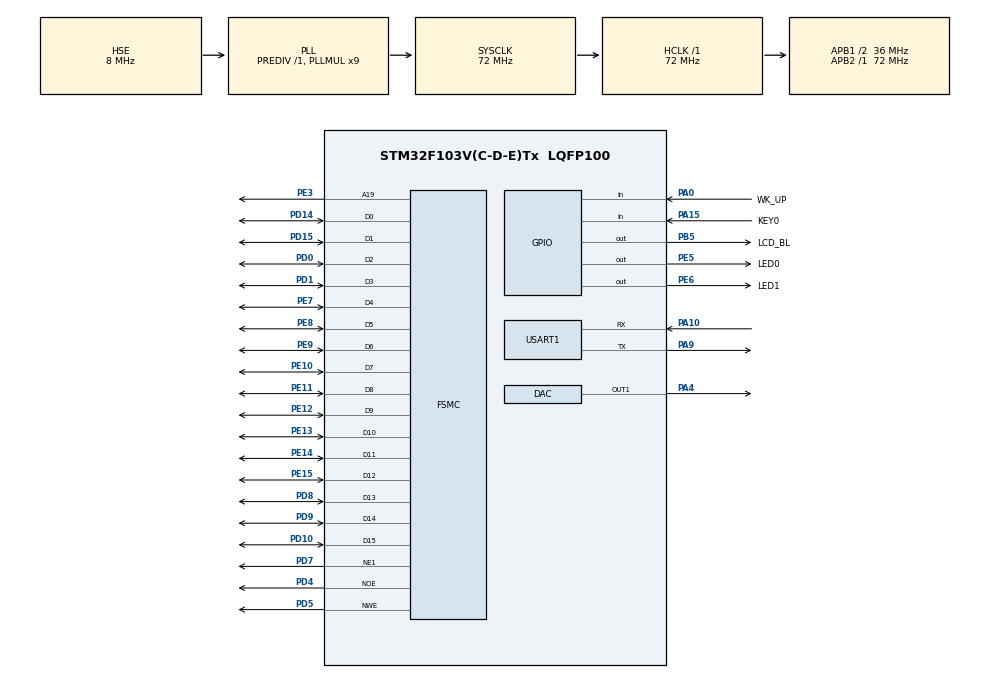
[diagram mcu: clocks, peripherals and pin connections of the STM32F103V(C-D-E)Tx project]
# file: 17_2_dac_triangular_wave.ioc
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DAC.DAC_OutputBuffer=DAC_OUTPUTBUFFER_DISABLE
FSMC.AddressSetupTime1=0
FSMC.DataSetupTime1=15
FSMC.ExtendedAddressSetupTime1=0
FSMC.ExtendedDataSetupTime1=1
FSMC.ExtendedMode1=FSMC_EXTENDED_MODE_ENABLE
Mcu.Family=STM32F1
Mcu.Name=STM32F103V(C-D-E)Tx
Mcu.Package=LQFP100
NVIC.PriorityGroup=NVIC_PRIORITYGROUP_2
NVIC.USART1_IRQn=true\:2\:2\:true\:false\:true\:true\:true\:true
OSC_IN.Mode=HSE-External-Oscillator
OSC_IN.Signal=RCC_OSC_IN
OSC_OUT.Mode=HSE-External-Oscillator
OSC_OUT.Signal=RCC_OSC_OUT
PA0-WKUP.GPIO_Label=WK_UP
PA0-WKUP.GPIO_PuPd=GPIO_PULLDOWN
PA0-WKUP.Signal=GPIO_Input
PA10.Mode=Asynchronous
PA10.Signal=USART1_RX
PA13.Mode=Serial_Wire
PA13.Signal=SYS_JTMS-SWDIO
PA14.Mode=Serial_Wire
PA14.Signal=SYS_JTCK-SWCLK
PA15.GPIO_Label=KEY0
PA15.GPIO_PuPd=GPIO_PULLDOWN
PA15.Signal=GPIO_Input
PA4.Signal=COMP_DAC1_group
PA9.Mode=Asynchronous
PA9.Signal=USART1_TX
PB5.GPIO_Label=LCD_BL
PB5.GPIO_PuPd=GPIO_PULLUP
PB5.GPIO_Speed=GPIO_SPEED_FREQ_HIGH
PB5.PinState=GPIO_PIN_SET
PB5.Signal=GPIO_Output
PC14-OSC32_IN.Mode=LSE-External-Oscillator
PC14-OSC32_IN.Signal=RCC_OSC32_IN
PC15-OSC32_OUT.Mode=LSE-External-Oscillator
PC15-OSC32_OUT.Signal=RCC_OSC32_OUT
PD0.Mode=16b-d1
PD0.Signal=FSMC_D2
PD1.Mode=16b-d1
PD1.Signal=FSMC_D3
PD10.Mode=16b-d1
PD10.Signal=FSMC_D15
PD14.Mode=16b-d1
PD14.Signal=FSMC_D0
PD15.Mode=16b-d1
PD15.Signal=FSMC_D1
PD4.Mode=Lcd1
PD4.Signal=FSMC_NOE
PD5.Mode=Lcd1
PD5.Signal=FSMC_NWE
PD7.Mode=NorPsramChipSelect1_1
PD7.Signal=FSMC_NE1
PD8.Mode=16b-d1
PD8.Signal=FSMC_D13
PD9.Mode=16b-d1
PD9.Signal=FSMC_D14
PE10.Mode=16b-d1
PE10.Signal=FSMC_D7
PE11.Mode=16b-d1
PE11.Signal=FSMC_D8
PE12.Mode=16b-d1
PE12.Signal=FSMC_D9
PE13.Mode=16b-d1
PE13.Signal=FSMC_D10
PE14.Mode=16b-d1
PE14.Signal=FSMC_D11
PE15.Mode=16b-d1
PE15.Signal=FSMC_D12
PE3.Mode=A19_1
PE3.Signal=FSMC_A19
PE5.GPIO_Label=LED0
PE5.GPIO_PuPd=GPIO_PULLUP
PE5.GPIO_Speed=GPIO_SPEED_FREQ_HIGH
PE5.PinState=GPIO_PIN_SET
PE5.Signal=GPIO_Output
PE6.GPIO_Label=LED1
PE6.GPIO_PuPd=GPIO_PULLUP
PE6.GPIO_Speed=GPIO_SPEED_FREQ_HIGH
PE6.PinState=GPIO_PIN_SET
PE6.Signal=GPIO_Output
PE7.Mode=16b-d1
PE7.Signal=FSMC_D4
PE8.Mode=16b-d1
PE8.Signal=FSMC_D5
PE9.Mode=16b-d1
PE9.Signal=FSMC_D6
ProjectManager.HeapSize=0x200
ProjectManager.StackSize=0x400
ProjectManager.TargetToolchain=STM32CubeIDE
RCC.AHBFreq_Value=72000000
RCC.APB1CLKDivider=RCC_HCLK_DIV2
RCC.APB1Freq_Value=36000000
RCC.APB1TimFreq_Value=72000000
RCC.APB2Freq_Value=72000000
RCC.APB2TimFreq_Value=72000000
RCC.HCLKFreq_Value=72000000
RCC.PLLMUL=RCC_PLL_MUL9
RCC.PLLSourceVirtual=RCC_PLLSOURCE_HSE
RCC.SYSCLKFreq_VALUE=72000000
RCC.SYSCLKSource=RCC_SYSCLKSOURCE_PLLCLK
RCC.USBFreq_Value=72000000
SH.COMP_DAC1_group.0=DAC_OUT1,DAC_OUT1
USART1.VirtualMode=VM_ASYNC
board=custom

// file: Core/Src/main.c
/* USER CODE BEGIN Header */
/**
 ****************************************************************************************************
 * @file        main.c
 * @author      ALIENTEK
 * @brief       dac_triangular_wave code
 * @license     Copyright (C) 2012-2024, ALIENTEK
 ****************************************************************************************************
 * @attention
 *
 * platform     : ALIENTEK M100-STM32F103 board
 * website      : www.alientek.com
 * forum        : www.openedv.com/forum.php
 *
 * change logs  :
 * version      data         notes
 * V1.0         20240409     the first version
 *
 ****************************************************************************************************
 */
/* USER CODE END Header */
#include "main.h"
#include "dac.h"
#include "usart.h"
#include "gpio.h"
#include "fsmc.h"

/* USER CODE BEGIN Includes */
#include "delay.h"
#include "../../BSP/LED/led.h"
#include "../../BSP/KEY/key.h"
#include "../../BSP/LCD/lcd.h"
/* USER CODE END Includes */

void SystemClock_Config(void);

/* USER CODE BEGIN 0 */
/**
 * @brief   Displays information about the experiment
 * @param   None
 * @retval  None
 */
void stm32f103ve_show_mesg(void)
{
	/* The serial port outputs the experimental information */
	printf("\n");
	printf("********************************\r\n");
	printf("STM32F103\r\n");
	printf("DAC Triangular WAVE Test\r\n");
	printf("ATOM@ALIENTEK\r\n");
	printf("********************************\r\n");
	printf("\r\n");
}
/* USER CODE END 0 */

int main(void)
{
  /* USER CODE BEGIN 1 */
  uint8_t key;
  /* USER CODE END 1 */

  /* MCU Configuration--------------------------------------------------------*/

  /* Reset of all peripherals, Initializes the Flash interface and the Systick. */
  HAL_Init();

  /* Configure the system clock */
  SystemClock_Config();

  /* USER CODE BEGIN SysInit */
  delay_init(72);
  /* USER CODE END SysInit */

  /* Initialize all configured peripherals */
  MX_GPIO_Init();
  MX_USART1_UART_Init();
  MX_FSMC_Init();
  MX_DAC_Init();
  /* USER CODE BEGIN 2 */

  lcd_init();                                         /* Initialize LCD */
  stm32f103ve_show_mesg();

  lcd_show_string(30, 50, 200, 16, 16, "STM32", RED);
  lcd_show_string(30, 70, 200, 16, 16, "DAC Triangular Wave TEST", RED);
  lcd_show_string(30, 90, 200, 16, 16, "ATOM@ALIENTEK", RED);

  lcd_show_string(30, 110, 200, 16, 16, "WK_UP:Wave1 KEY0:Wave2", RED);
  /* USER CODE END 2 */

  /* Infinite loop */
  /* USER CODE BEGIN WHILE */
  while (1)
  {
    key = key_scan(0);                            /* Scan key */

    if (key == WKUP_PRES)                         /* High sampling rate */
    {
      lcd_show_string(30, 130, 200, 16, 16, "DAC Wave1", BLUE);
      dac_triangular_wave(4095, 5, 2000, 100);    /* Amplitude 4095, sampling point interval 5us,2000 sampling points,100 waveforms */
      lcd_show_string(30, 130, 200, 16, 16, "DAC None ", BLUE);
    }
    else if (key == KEY0_PRES) /* Low sampling rate */
    {
      lcd_show_string(30, 130, 200, 16, 16, "DAC Wave2", BLUE);
      dac_triangular_wave(4095, 500, 20, 100);    /* Amplitude 4095, sampling point interval 500us,20 sampling points,100 waveforms */
      lcd_show_string(30, 130, 200, 16, 16, "DAC None ", BLUE);
    }

    LED0_TOGGLE();             /* flashing LED0 indicates that the system is running */
    HAL_Delay(10);             /* delay 10ms */
    /* USER CODE END WHILE */

  }
}

void SystemClock_Config(void)
{
  RCC_OscInitTypeDef RCC_OscInitStruct = {0};
  RCC_ClkInitTypeDef RCC_ClkInitStruct = {0};

  /** Initializes the RCC Oscillators according to the specified parameters
  * in the RCC_OscInitTypeDef structure.
  */
  RCC_OscInitStruct.OscillatorType = RCC_OSCILLATORTYPE_HSE;
  RCC_OscInitStruct.HSEState = RCC_HSE_ON;
  RCC_OscInitStruct.HSEPredivValue = RCC_HSE_PREDIV_DIV1;
  RCC_OscInitStruct.HSIState = RCC_HSI_ON;
  RCC_OscInitStruct.PLL.PLLState = RCC_PLL_ON;
  RCC_OscInitStruct.PLL.PLLSource = RCC_PLLSOURCE_HSE;
  RCC_OscInitStruct.PLL.PLLMUL = RCC_PLL_MUL9;
  if (HAL_RCC_OscConfig(&RCC_OscInitStruct) != HAL_OK)
  {
    Error_Handler();
  }

  /** Initializes the CPU, AHB and APB buses clocks
  */
  RCC_ClkInitStruct.ClockType = RCC_CLOCKTYPE_HCLK|RCC_CLOCKTYPE_SYSCLK
                              |RCC_CLOCKTYPE_PCLK1|RCC_CLOCKTYPE_PCLK2;
  RCC_ClkInitStruct.SYSCLKSource = RCC_SYSCLKSOURCE_PLLCLK;
  RCC_ClkInitStruct.AHBCLKDivider = RCC_SYSCLK_DIV1;
  RCC_ClkInitStruct.APB1CLKDivider = RCC_HCLK_DIV2;
  RCC_ClkInitStruct.APB2CLKDivider = RCC_HCLK_DIV1;

  if (HAL_RCC_ClockConfig(&RCC_ClkInitStruct, FLASH_LATENCY_2) != HAL_OK)
  {
    Error_Handler();
  }
}

void Error_Handler(void)
{
  __disable_irq();
  while (1)
  {
  }
}
